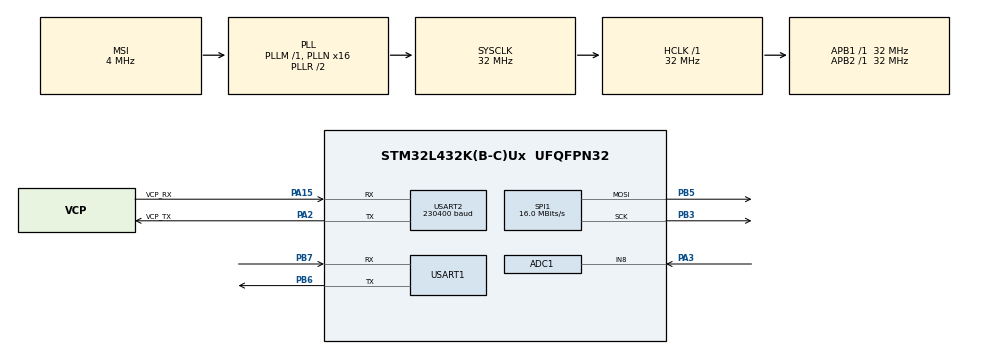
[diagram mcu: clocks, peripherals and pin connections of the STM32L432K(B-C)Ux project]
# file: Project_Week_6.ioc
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ADC1.Channel-0\#ChannelRegularConversion=ADC_CHANNEL_8
ADC1.DMAContinuousRequests=ENABLE
ADC1.ExternalTrigConv=ADC_EXTERNALTRIG_T6_TRGO
ADC1.NbrOfConversionFlag=1
ADC1.OffsetNumber-0\#ChannelRegularConversion=ADC_OFFSET_NONE
ADC1.Rank-0\#ChannelRegularConversion=1
ADC1.Resolution=ADC_RESOLUTION_12B
ADC1.SamplingTime-0\#ChannelRegularConversion=ADC_SAMPLETIME_2CYCLES_5
ADC1.master=1
Dma.ADC1.0.Direction=DMA_PERIPH_TO_MEMORY
Dma.ADC1.0.Instance=DMA1_Channel1
Dma.ADC1.0.MemDataAlignment=DMA_MDATAALIGN_HALFWORD
Dma.ADC1.0.MemInc=DMA_MINC_ENABLE
Dma.ADC1.0.Mode=DMA_CIRCULAR
Dma.ADC1.0.PeriphDataAlignment=DMA_PDATAALIGN_HALFWORD
Dma.ADC1.0.PeriphInc=DMA_PINC_DISABLE
Dma.ADC1.0.Priority=DMA_PRIORITY_LOW
Dma.Request0=ADC1
Dma.Request1=SPI1_TX
Dma.SPI1_TX.1.Direction=DMA_MEMORY_TO_PERIPH
Dma.SPI1_TX.1.Instance=DMA1_Channel3
Dma.SPI1_TX.1.MemDataAlignment=DMA_MDATAALIGN_HALFWORD
Dma.SPI1_TX.1.MemInc=DMA_MINC_ENABLE
Dma.SPI1_TX.1.Mode=DMA_NORMAL
Dma.SPI1_TX.1.PeriphDataAlignment=DMA_PDATAALIGN_HALFWORD
Dma.SPI1_TX.1.PeriphInc=DMA_PINC_DISABLE
Dma.SPI1_TX.1.Priority=DMA_PRIORITY_LOW
Mcu.Family=STM32L4
Mcu.Name=STM32L432K(B-C)Ux
Mcu.Package=UFQFPN32
NVIC.ADC1_IRQn=true\:0\:0\:false\:false\:true\:true\:true\:true
NVIC.DMA1_Channel1_IRQn=true\:0\:0\:false\:false\:true\:false\:true\:true
NVIC.DMA1_Channel3_IRQn=true\:0\:0\:false\:false\:true\:false\:true\:true
NVIC.PriorityGroup=NVIC_PRIORITYGROUP_4
NVIC.USART1_IRQn=true\:0\:0\:false\:false\:true\:true\:true\:true
NVIC.USART2_IRQn=true\:0\:0\:false\:false\:true\:true\:true\:true
PA0.GPIO_Label=MCO [High speed clock in]
PA0.Mode=HSE-External-Clock-Source-for-LittleOrca
PA0.Signal=RCC_CK_IN
PA13\ (JTMS-SWDIO).GPIO_Label=SWDIO
PA13\ (JTMS-SWDIO).Mode=Serial_Wire
PA13\ (JTMS-SWDIO).Signal=SYS_JTMS-SWDIO
PA14\ (JTCK-SWCLK).GPIO_Label=SWCLK
PA14\ (JTCK-SWCLK).Mode=Serial_Wire
PA14\ (JTCK-SWCLK).Signal=SYS_JTCK-SWCLK
PA15\ (JTDI).GPIO_Label=VCP_RX
PA15\ (JTDI).Mode=Asynchronous
PA15\ (JTDI).Signal=USART2_RX
PA2.GPIO_Label=VCP_TX
PA2.Mode=Asynchronous
PA2.Signal=USART2_TX
PA3.Signal=ADCx_IN8
PB3\ (JTDO-TRACESWO).Mode=TX_Only_Simplex_Unidirect_Master
PB3\ (JTDO-TRACESWO).Signal=SPI1_SCK
PB5.Mode=TX_Only_Simplex_Unidirect_Master
PB5.Signal=SPI1_MOSI
PB6.Mode=Asynchronous
PB6.Signal=USART1_TX
PB7.Mode=Asynchronous
PB7.Signal=USART1_RX
PC14-OSC32_IN\ (PC14).Mode=LSE-External-Oscillator
PC14-OSC32_IN\ (PC14).Signal=RCC_OSC32_IN
PC15-OSC32_OUT\ (PC15).Mode=LSE-External-Oscillator
PC15-OSC32_OUT\ (PC15).Signal=RCC_OSC32_OUT
ProjectManager.HeapSize=0x200
ProjectManager.StackSize=0x400
ProjectManager.TargetToolchain=STM32CubeIDE
RCC.ADCFreq_Value=32000000
RCC.AHBFreq_Value=32000000
RCC.APB1Freq_Value=32000000
RCC.APB1TimFreq_Value=32000000
RCC.APB2Freq_Value=32000000
RCC.APB2TimFreq_Value=32000000
RCC.CortexFreq_Value=32000000
RCC.HCLKFreq_Value=32000000
RCC.HSE_VALUE=8000000
RCC.HSI16_VALUE=16000000
RCC.HSI48_VALUE=48000000
RCC.HSI_VALUE=16000000
RCC.MSI_VALUE=4000000
RCC.PLLMUL=RCC_PLLMUL_4
RCC.PLLN=16
RCC.PLLSAI1N=16
RCC.SYSCLKFreq_VALUE=32000000
RCC.SYSCLKSource=RCC_SYSCLKSOURCE_PLLCLK
RCC.USBFreq_Value=32000000
RCC.VCOOutputFreq_Value=64000000
SH.ADCx_IN8.0=ADC1_IN8,IN8-Single-Ended
SPI1.CalculateBaudRate=16.0 MBits/s
SPI1.DataSize=SPI_DATASIZE_16BIT
SPI1.Direction=SPI_DIRECTION_2LINES
SPI1.Mode=SPI_MODE_MASTER
SPI1.VirtualType=VM_MASTER
TIM6.Period=120
TIM6.Prescaler=5
TIM6.TIM_MasterOutputTrigger=TIM_TRGO_UPDATE
USART1.VirtualMode-Asynchronous=VM_ASYNC
USART2.BaudRate=230400
USART2.VirtualMode-Asynchronous=VM_ASYNC
VP_TIM6_VS_ClockSourceINT.Mode=Enable_Timer
board=NUCLEO-L432KC

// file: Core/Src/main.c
/* USER CODE BEGIN Header */
/**
  ******************************************************************************
  * @file           : main.c
  * @brief          : Main program body
  ******************************************************************************
  * @attention
  *
  * Copyright (c) 2026 STMicroelectronics.
  * All rights reserved.
  *
  * This software is licensed under terms that can be found in the LICENSE file
  * in the root directory of this software component.
  * If no LICENSE file comes with this software, it is provided AS-IS.
  *
  ******************************************************************************
  */
/* USER CODE END Header */
#include "main.h"

/* USER CODE BEGIN Includes */
#include <stdio.h>
#include <string.h>
/* USER CODE END Includes */

ADC_HandleTypeDef hadc1;
DMA_HandleTypeDef hdma_adc1;

SPI_HandleTypeDef hspi1;
DMA_HandleTypeDef hdma_spi1_tx;

TIM_HandleTypeDef htim6;

UART_HandleTypeDef huart1;
UART_HandleTypeDef huart2;

/* USER CODE BEGIN PV */
//use to store the temporary result of the latest ADC version
uint16_t raw_ADC_value = 0;
//broken to two bytes and store in 8-bit array
uint8_t tx_buffer[2]={0};
uint16_t temp = 0;
//write the value of variable DC value
char string_1[40]="\0";
uint8_t cmd_rx = 0;
volatile uint8_t audio_streaming = 0;
uint16_t adc_buffer[200];
/* USER CODE END PV */

void SystemClock_Config(void);
static void MX_GPIO_Init(void);
static void MX_DMA_Init(void);
static void MX_USART2_UART_Init(void);
static void MX_ADC1_Init(void);
static void MX_TIM6_Init(void);
static void MX_SPI1_Init(void);
static void MX_USART1_UART_Init(void);
/* USER CODE BEGIN PFP */
static void Audio_Start(void);
static void Audio_Stop(void);
/* USER CODE END PFP */

/* USER CODE BEGIN 0 */
static void Audio_Start(void)
{
	if (audio_streaming == 0U)
	{
		__HAL_TIM_SET_COUNTER(&htim6, 0);
		if (HAL_ADC_Start_DMA(&hadc1, (uint32_t*)adc_buffer, 200) == HAL_OK)
		{
			HAL_TIM_Base_Start(&htim6);
			audio_streaming = 1U;
		}
	}
}

static void Audio_Stop(void)
{
	if (audio_streaming != 0U)
	{
		HAL_TIM_Base_Stop(&htim6);
		HAL_ADC_Stop_DMA(&hadc1);
		audio_streaming = 0U;
	}
}

/* USER CODE END 0 */

int main(void)
{

  /* MCU Configuration--------------------------------------------------------*/

  /* Reset of all peripherals, Initializes the Flash interface and the Systick. */
  HAL_Init();

  /* Configure the system clock */
  SystemClock_Config();

  /* Initialize all configured peripherals */
  MX_GPIO_Init();
  MX_DMA_Init();
  MX_USART2_UART_Init();
  MX_ADC1_Init();
  MX_TIM6_Init();
  MX_SPI1_Init();
  MX_USART1_UART_Init();
  /* USER CODE BEGIN 2 */
  HAL_UART_Receive_IT(&huart1, &cmd_rx, 1);
  /* USER CODE END 2 */

  /* Infinite loop */
  while (1)
  {

  }
}

void SystemClock_Config(void)
{
  RCC_OscInitTypeDef RCC_OscInitStruct = {0};
  RCC_ClkInitTypeDef RCC_ClkInitStruct = {0};

  /** Configure the main internal regulator output voltage
  */
  if (HAL_PWREx_ControlVoltageScaling(PWR_REGULATOR_VOLTAGE_SCALE1) != HAL_OK)
  {
    Error_Handler();
  }

  /** Configure LSE Drive Capability
  */
  HAL_PWR_EnableBkUpAccess();
  __HAL_RCC_LSEDRIVE_CONFIG(RCC_LSEDRIVE_LOW);

  /** Initializes the RCC Oscillators according to the specified parameters
  * in the RCC_OscInitTypeDef structure.
  */
  RCC_OscInitStruct.OscillatorType = RCC_OSCILLATORTYPE_LSE|RCC_OSCILLATORTYPE_MSI;
  RCC_OscInitStruct.LSEState = RCC_LSE_ON;
  RCC_OscInitStruct.MSIState = RCC_MSI_ON;
  RCC_OscInitStruct.MSICalibrationValue = 0;
  RCC_OscInitStruct.MSIClockRange = RCC_MSIRANGE_6;
  RCC_OscInitStruct.PLL.PLLState = RCC_PLL_ON;
  RCC_OscInitStruct.PLL.PLLSource = RCC_PLLSOURCE_MSI;
  RCC_OscInitStruct.PLL.PLLM = 1;
  RCC_OscInitStruct.PLL.PLLN = 16;
  RCC_OscInitStruct.PLL.PLLP = RCC_PLLP_DIV7;
  RCC_OscInitStruct.PLL.PLLQ = RCC_PLLQ_DIV2;
  RCC_OscInitStruct.PLL.PLLR = RCC_PLLR_DIV2;
  if (HAL_RCC_OscConfig(&RCC_OscInitStruct) != HAL_OK)
  {
    Error_Handler();
  }

  /** Initializes the CPU, AHB and APB buses clocks
  */
  RCC_ClkInitStruct.ClockType = RCC_CLOCKTYPE_HCLK|RCC_CLOCKTYPE_SYSCLK
                              |RCC_CLOCKTYPE_PCLK1|RCC_CLOCKTYPE_PCLK2;
  RCC_ClkInitStruct.SYSCLKSource = RCC_SYSCLKSOURCE_PLLCLK;
  RCC_ClkInitStruct.AHBCLKDivider = RCC_SYSCLK_DIV1;
  RCC_ClkInitStruct.APB1CLKDivider = RCC_HCLK_DIV1;
  RCC_ClkInitStruct.APB2CLKDivider = RCC_HCLK_DIV1;

  if (HAL_RCC_ClockConfig(&RCC_ClkInitStruct, FLASH_LATENCY_1) != HAL_OK)
  {
    Error_Handler();
  }

  /** Enable MSI Auto calibration
  */
  HAL_RCCEx_EnableMSIPLLMode();
}

static void MX_ADC1_Init(void)
{

  ADC_ChannelConfTypeDef sConfig = {0};

  /** Common config
  */
  hadc1.Instance = ADC1;
  hadc1.Init.ClockPrescaler = ADC_CLOCK_ASYNC_DIV1;
  hadc1.Init.Resolution = ADC_RESOLUTION_12B;
  hadc1.Init.DataAlign = ADC_DATAALIGN_RIGHT;
  hadc1.Init.ScanConvMode = ADC_SCAN_DISABLE;
  hadc1.Init.EOCSelection = ADC_EOC_SINGLE_CONV;
  hadc1.Init.LowPowerAutoWait = DISABLE;
  hadc1.Init.ContinuousConvMode = DISABLE;
  hadc1.Init.NbrOfConversion = 1;
  hadc1.Init.DiscontinuousConvMode = DISABLE;
  hadc1.Init.ExternalTrigConv = ADC_EXTERNALTRIG_T6_TRGO;
  hadc1.Init.ExternalTrigConvEdge = ADC_EXTERNALTRIGCONVEDGE_RISING;
  hadc1.Init.DMAContinuousRequests = ENABLE;
  hadc1.Init.Overrun = ADC_OVR_DATA_PRESERVED;
  hadc1.Init.OversamplingMode = DISABLE;
  if (HAL_ADC_Init(&hadc1) != HAL_OK)
  {
    Error_Handler();
  }

  /** Configure Regular Channel
  */
  sConfig.Channel = ADC_CHANNEL_8;
  sConfig.Rank = ADC_REGULAR_RANK_1;
  sConfig.SamplingTime = ADC_SAMPLETIME_2CYCLES_5;
  sConfig.SingleDiff = ADC_SINGLE_ENDED;
  sConfig.OffsetNumber = ADC_OFFSET_NONE;
  sConfig.Offset = 0;
  if (HAL_ADC_ConfigChannel(&hadc1, &sConfig) != HAL_OK)
  {
    Error_Handler();
  }

}

static void MX_SPI1_Init(void)
{

  /* SPI1 parameter configuration*/
  hspi1.Instance = SPI1;
  hspi1.Init.Mode = SPI_MODE_MASTER;
  hspi1.Init.Direction = SPI_DIRECTION_2LINES;
  hspi1.Init.DataSize = SPI_DATASIZE_16BIT;
  hspi1.Init.CLKPolarity = SPI_POLARITY_LOW;
  hspi1.Init.CLKPhase = SPI_PHASE_1EDGE;
  hspi1.Init.NSS = SPI_NSS_SOFT;
  hspi1.Init.BaudRatePrescaler = SPI_BAUDRATEPRESCALER_2;
  hspi1.Init.FirstBit = SPI_FIRSTBIT_MSB;
  hspi1.Init.TIMode = SPI_TIMODE_DISABLE;
  hspi1.Init.CRCCalculation = SPI_CRCCALCULATION_DISABLE;
  hspi1.Init.CRCPolynomial = 7;
  hspi1.Init.CRCLength = SPI_CRC_LENGTH_DATASIZE;
  hspi1.Init.NSSPMode = SPI_NSS_PULSE_ENABLE;
  if (HAL_SPI_Init(&hspi1) != HAL_OK)
  {
    Error_Handler();
  }

}

static void MX_TIM6_Init(void)
{

  TIM_MasterConfigTypeDef sMasterConfig = {0};

  htim6.Instance = TIM6;
  htim6.Init.Prescaler = 5;
  htim6.Init.CounterMode = TIM_COUNTERMODE_UP;
  htim6.Init.Period = 120;
  htim6.Init.AutoReloadPreload = TIM_AUTORELOAD_PRELOAD_DISABLE;
  if (HAL_TIM_Base_Init(&htim6) != HAL_OK)
  {
    Error_Handler();
  }
  sMasterConfig.MasterOutputTrigger = TIM_TRGO_UPDATE;
  sMasterConfig.MasterSlaveMode = TIM_MASTERSLAVEMODE_DISABLE;
  if (HAL_TIMEx_MasterConfigSynchronization(&htim6, &sMasterConfig) != HAL_OK)
  {
    Error_Handler();
  }

}

static void MX_USART1_UART_Init(void)
{

  huart1.Instance = USART1;
  huart1.Init.BaudRate = 115200;
  huart1.Init.WordLength = UART_WORDLENGTH_8B;
  huart1.Init.StopBits = UART_STOPBITS_1;
  huart1.Init.Parity = UART_PARITY_NONE;
  huart1.Init.Mode = UART_MODE_TX_RX;
  huart1.Init.HwFlowCtl = UART_HWCONTROL_NONE;
  huart1.Init.OverSampling = UART_OVERSAMPLING_16;
  huart1.Init.OneBitSampling = UART_ONE_BIT_SAMPLE_DISABLE;
  huart1.AdvancedInit.AdvFeatureInit = UART_ADVFEATURE_NO_INIT;
  if (HAL_UART_Init(&huart1) != HAL_OK)
  {
    Error_Handler();
  }

}

static void MX_USART2_UART_Init(void)
{

  huart2.Instance = USART2;
  huart2.Init.BaudRate = 230400;
  huart2.Init.WordLength = UART_WORDLENGTH_8B;
  huart2.Init.StopBits = UART_STOPBITS_1;
  huart2.Init.Parity = UART_PARITY_NONE;
  huart2.Init.Mode = UART_MODE_TX_RX;
  huart2.Init.HwFlowCtl = UART_HWCONTROL_NONE;
  huart2.Init.OverSampling = UART_OVERSAMPLING_16;
  huart2.Init.OneBitSampling = UART_ONE_BIT_SAMPLE_DISABLE;
  huart2.AdvancedInit.AdvFeatureInit = UART_ADVFEATURE_NO_INIT;
  if (HAL_UART_Init(&huart2) != HAL_OK)
  {
    Error_Handler();
  }

}

static void MX_DMA_Init(void)
{

  /* DMA controller clock enable */
  __HAL_RCC_DMA1_CLK_ENABLE();

  /* DMA interrupt init */
  /* DMA1_Channel1_IRQn interrupt configuration */
  HAL_NVIC_SetPriority(DMA1_Channel1_IRQn, 0, 0);
  HAL_NVIC_EnableIRQ(DMA1_Channel1_IRQn);
  /* DMA1_Channel3_IRQn interrupt configuration */
  HAL_NVIC_SetPriority(DMA1_Channel3_IRQn, 0, 0);
  HAL_NVIC_EnableIRQ(DMA1_Channel3_IRQn);

}

static void MX_GPIO_Init(void)
{

  /* GPIO Ports Clock Enable */
  __HAL_RCC_GPIOC_CLK_ENABLE();
  __HAL_RCC_GPIOA_CLK_ENABLE();
  __HAL_RCC_GPIOB_CLK_ENABLE();

}

/* USER CODE BEGIN 4 */
void HAL_UART_RxCpltCallback(UART_HandleTypeDef *huart)
{
	if (huart->Instance == USART1)
	{
		if(cmd_rx == 'M')
		{
			Audio_Start();
		}
		else if (cmd_rx == 'S')
		{
			Audio_Stop();
		}
		HAL_UART_Receive_IT(&huart1, &cmd_rx, 1);
	}
}

void HAL_ADC_ConvHalfCpltCallback(ADC_HandleTypeDef* hadc)
{
    if(hadc->Instance == ADC1)
    {
        HAL_SPI_Transmit_DMA(&hspi1, (uint8_t*)&adc_buffer[0], 100);
    }
}

void HAL_ADC_ConvCpltCallback(ADC_HandleTypeDef* hadc)
{
    if(hadc->Instance == ADC1)
    {
        HAL_SPI_Transmit_DMA(&hspi1, (uint8_t*)&adc_buffer[100], 100);
    }
}
/* USER CODE END 4 */

void Error_Handler(void)
{
  __disable_irq();
  while (1)
  {
  }
}
